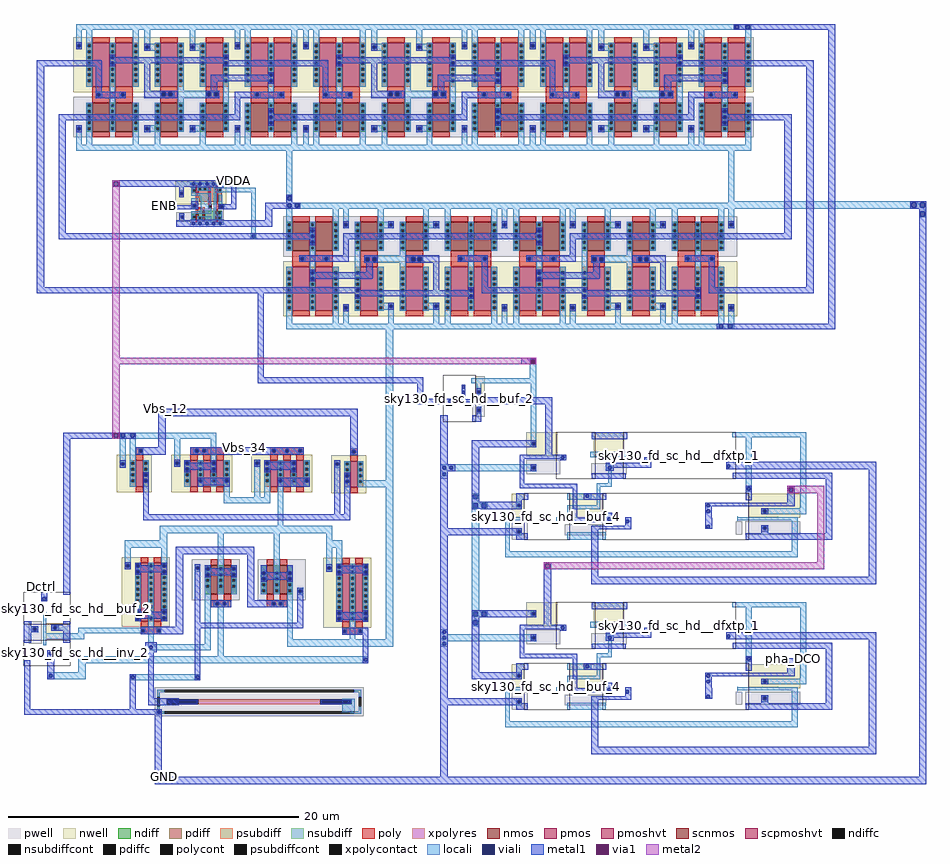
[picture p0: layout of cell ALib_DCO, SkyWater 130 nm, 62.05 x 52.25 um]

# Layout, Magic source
magic
tech sky130A
magscale 1 2
<< nwell >>
rect 3080 3700 3260 3820
rect 3080 3500 3256 3700
rect 7210 820 7340 1140
<< pwell >>
rect 3156 3390 3290 3394
rect 3100 3260 3290 3390
rect 3156 3258 3290 3260
rect 7170 580 7340 760
<< psubdiff >>
rect 3140 3342 3210 3380
rect 3140 3308 3164 3342
rect 3200 3308 3210 3342
rect 3140 3280 3210 3308
rect 3148 3276 3210 3280
rect 7230 690 7290 720
rect 7230 650 7240 690
rect 7280 650 7290 690
rect 7230 620 7290 650
<< nsubdiff >>
rect 3140 3662 3200 3696
rect 3140 3628 3154 3662
rect 3188 3628 3200 3662
rect 3140 3596 3200 3628
rect 7230 940 7290 970
rect 7230 900 7240 940
rect 7280 900 7290 940
rect 7230 870 7290 900
<< psubdiffcont >>
rect 3164 3308 3200 3342
rect 7240 650 7280 690
<< nsubdiffcont >>
rect 3154 3628 3188 3662
rect 7240 900 7280 940
<< locali >>
rect 3140 3670 3200 3696
rect 3730 3670 4190 3730
rect 3140 3630 3150 3670
rect 3190 3630 3200 3670
rect 3140 3628 3154 3630
rect 3188 3628 3200 3630
rect 3140 3596 3200 3628
rect 3690 3490 3760 3500
rect 3690 3450 3700 3490
rect 3740 3450 3760 3490
rect 3690 3440 3760 3450
rect 3140 3342 3210 3380
rect 3140 3308 3164 3342
rect 3200 3308 3210 3342
rect 3140 3270 3210 3308
rect 4130 3100 4190 3670
rect 10750 3520 13410 3540
rect 10750 3460 13210 3520
rect 13270 3460 13330 3520
rect 13390 3460 13410 3520
rect 10750 3440 13410 3460
rect 13310 3400 13410 3440
rect 13310 3340 13330 3400
rect 13390 3340 13410 3400
rect 13310 3320 13410 3340
rect 4120 3080 4200 3100
rect 4120 3040 4140 3080
rect 4180 3040 4200 3080
rect 4120 3020 4200 3040
rect 5980 -530 6080 1830
rect 7960 1370 8050 1390
rect 7960 1310 7970 1370
rect 8030 1310 8050 1370
rect 7960 1110 8050 1310
rect 7150 1040 8050 1110
rect 7230 940 7290 1040
rect 7230 900 7240 940
rect 7280 900 7290 940
rect 7230 870 7290 900
rect 7230 690 7290 720
rect 7230 650 7240 690
rect 7280 650 7290 690
rect 7230 620 7290 650
rect 7970 250 8050 1040
rect 6730 -190 6830 -170
rect 6730 -230 6760 -190
rect 6800 -230 6830 -190
rect 6730 -270 6830 -230
rect 7160 -490 7260 -470
rect 7160 -550 7180 -490
rect 7240 -550 7260 -490
rect 7160 -590 7260 -550
rect 7160 -610 7380 -590
rect 7160 -670 7180 -610
rect 7240 -670 7300 -610
rect 7360 -670 7380 -610
rect 7160 -690 7380 -670
rect 7160 -2080 7260 -690
rect 7160 -2100 7380 -2080
rect 7160 -2160 7180 -2100
rect 7240 -2160 7300 -2100
rect 7360 -2160 7380 -2100
rect 7160 -2180 7380 -2160
rect 7160 -2220 7260 -2180
rect 7160 -2280 7180 -2220
rect 7240 -2280 7260 -2220
rect 7160 -2300 7260 -2280
rect 6730 -2360 6830 -2340
rect 6730 -2400 6760 -2360
rect 6800 -2400 6830 -2360
rect 6730 -2410 6830 -2400
rect 6730 -2520 6830 -2510
rect 6730 -2560 6760 -2520
rect 6800 -2560 6830 -2520
rect 6730 -2580 6830 -2560
<< viali >>
rect 3150 3662 3190 3670
rect 3150 3630 3154 3662
rect 3154 3630 3188 3662
rect 3188 3630 3190 3662
rect 3330 3460 3370 3500
rect 3700 3450 3740 3490
rect 3164 3308 3200 3342
rect 4630 3560 4680 3610
rect 4630 3460 4680 3510
rect 4730 3460 4780 3510
rect 13210 3460 13270 3520
rect 13330 3460 13390 3520
rect 13330 3340 13390 3400
rect 4140 3040 4180 3080
rect 7970 1310 8030 1370
rect 7028 970 7062 1004
rect 7028 894 7062 928
rect 7240 900 7280 940
rect 6846 774 6880 808
rect 7240 650 7280 690
rect 6860 -140 6900 -100
rect 6760 -230 6800 -190
rect 7180 -550 7240 -490
rect 7180 -670 7240 -610
rect 7300 -670 7360 -610
rect 7180 -2160 7240 -2100
rect 7300 -2160 7360 -2100
rect 7180 -2280 7240 -2220
rect 6760 -2400 6800 -2360
rect 6760 -2560 6800 -2520
<< metal1 >>
rect 2220 3810 3300 3830
rect 2220 3750 2240 3810
rect 2300 3750 3300 3810
rect 2220 3740 3300 3750
rect 3740 3740 3920 3830
rect 3140 3670 3200 3740
rect 3140 3630 3150 3670
rect 3190 3630 3200 3670
rect 3140 3596 3200 3630
rect 3300 3500 3400 3540
rect 3850 3500 3920 3740
rect 4610 3610 4690 3630
rect 4610 3560 4630 3610
rect 4680 3560 4690 3610
rect 4610 3520 4690 3560
rect 13190 3520 13410 3540
rect 3300 3490 3330 3500
rect 2890 3460 3330 3490
rect 3370 3460 3400 3500
rect 2890 3430 3400 3460
rect 3680 3490 3920 3500
rect 3680 3450 3700 3490
rect 3740 3450 3920 3490
rect 3680 3430 3920 3450
rect 4320 3510 4800 3520
rect 4320 3460 4630 3510
rect 4680 3460 4730 3510
rect 4780 3460 4800 3510
rect 4320 3440 4800 3460
rect 13190 3460 13210 3520
rect 13270 3460 13330 3520
rect 13390 3460 13410 3520
rect 13190 3440 13410 3460
rect 3140 3342 3210 3380
rect 3140 3308 3164 3342
rect 3200 3308 3210 3342
rect 3140 3280 3210 3308
rect 4320 3280 4420 3440
rect 3100 3190 3300 3280
rect 3740 3190 4420 3280
rect 13310 3400 13410 3440
rect 13310 3340 13330 3400
rect 13390 3340 13410 3400
rect 4220 1120 4300 2280
rect 7840 1370 8050 1390
rect 7840 1310 7970 1370
rect 8030 1310 8050 1370
rect 7840 1300 8050 1310
rect 4220 1040 6490 1120
rect 6410 830 6490 1040
rect 7020 1004 7070 1020
rect 7020 970 7028 1004
rect 7062 970 7070 1004
rect 7020 928 7070 970
rect 7020 894 7028 928
rect 7062 894 7070 928
rect 6410 828 6830 830
rect 6410 808 6896 828
rect 6410 774 6846 808
rect 6880 774 6896 808
rect 7020 820 7070 894
rect 7230 940 7290 970
rect 7230 900 7240 940
rect 7280 900 7290 940
rect 7230 870 7290 900
rect 7350 820 8270 850
rect 7020 780 8270 820
rect 7037 778 8270 780
rect 6410 756 6896 774
rect 6410 750 6830 756
rect 7350 750 8270 778
rect 7230 690 7290 720
rect 2850 590 5590 690
rect 7230 650 7240 690
rect 7280 650 7290 690
rect 7230 600 7290 650
rect 2230 290 2240 350
rect 2300 290 2310 350
rect 2850 160 2950 590
rect 2640 60 2950 160
rect 3750 60 4390 160
rect 5490 150 5590 590
rect 6730 -70 6830 600
rect 7170 510 7290 600
rect 8170 10 8270 750
rect 6830 -100 6930 -70
rect 6830 -140 6860 -100
rect 6900 -140 6930 -100
rect 6830 -170 6930 -140
rect 11500 -390 11600 -370
rect 11500 -450 11520 -390
rect 11580 -450 11600 -390
rect 11500 -470 11600 -450
rect 1240 -1880 1320 -1720
rect 6730 -2360 6830 -772
rect 8150 -1440 8250 -1420
rect 8150 -1500 8170 -1440
rect 8230 -1500 8250 -1440
rect 8150 -2340 8250 -1500
rect 6730 -2400 6760 -2360
rect 6800 -2400 6830 -2360
rect 6730 -2520 6830 -2400
rect 6730 -2534 6760 -2520
rect 6800 -2534 6830 -2520
rect 11500 -2820 11600 -2740
rect 2800 -4370 2900 -3510
rect 6730 -4370 6830 -3180
rect 13310 -4370 13410 3340
rect 2800 -4470 13410 -4370
<< via1 >>
rect 2240 3750 2300 3810
rect 7970 1310 8030 1370
rect 2240 290 2300 350
rect 11520 -450 11580 -390
rect 8170 -1500 8230 -1440
<< metal2 >>
rect 2220 3810 2320 3830
rect 2220 3750 2240 3810
rect 2300 3750 2320 3810
rect 2220 1390 2320 3750
rect 2220 1370 8050 1390
rect 2220 1310 7970 1370
rect 8030 1310 8050 1370
rect 2220 1300 8050 1310
rect 2220 350 2320 1300
rect 2220 290 2240 350
rect 2300 290 2320 350
rect 2220 280 2320 290
rect 11500 -390 12010 -370
rect 11500 -450 11520 -390
rect 11580 -450 12010 -390
rect 11500 -470 12010 -450
rect 11910 -1420 12010 -470
rect 8150 -1440 12010 -1420
rect 8150 -1500 8170 -1440
rect 8230 -1500 12010 -1440
rect 8150 -1520 12010 -1500
use ALib_IDAC  ALib_IDAC_0
transform 1 0 2860 0 1 -380
box -1860 -3160 3220 740
use DLib_freqDiv2  DLib_freqDiv2_0
transform 1 0 8320 0 1 -2610
box -1590 -1450 4400 640
use DLib_freqDiv2  DLib_freqDiv2_1
transform 1 0 8320 0 1 -270
box -1590 -1450 4400 640
use sky130_fd_sc_hd__buf_2  sky130_fd_sc_hd__buf_2_0 $PDKPATH/libs.ref/sky130_fd_sc_hd/mag
transform 1 0 6808 0 1 558
box -38 -48 406 592
use sky130_fd_sc_hd__einvp_1  sky130_fd_sc_hd__einvp_1_0 $PDKPATH/libs.ref/sky130_fd_sc_hd/mag
transform 1 0 3288 0 1 3238
box -38 -48 498 592
use x5s_cc_osc_dco  x5s_cc_osc_dco_0
transform 1 0 1680 0 1 4060
box -500 -2280 10480 1920
<< labels >>
rlabel metal1 2950 690 2950 690 1 Vbs_12
port 1 n
rlabel metal1 4030 160 4030 160 1 Vbs_34
port 2 n
rlabel metal1 1240 -1750 1240 -1750 7 Dctrl
port 4 w
rlabel metal1 2930 3490 2930 3490 1 ENB
port 5 n
rlabel metal1 3880 3830 3880 3830 1 VDDA
port 6 n
rlabel metal1 2940 -4370 2940 -4370 1 GND
port 7 n
rlabel metal1 11580 -2740 11580 -2740 1 pha_DCO
port 3 n
<< end >>

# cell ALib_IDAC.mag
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
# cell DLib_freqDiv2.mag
magic
tech sky130A
magscale 1 2
<< nwell >>
rect -410 310 20 640
rect 520 300 940 630
rect -610 -530 -440 -210
rect 180 -540 650 -210
rect 2610 -300 3360 -210
rect 2640 -330 3360 -300
rect 2560 -380 3360 -330
rect 2640 -530 3360 -380
rect 3060 -540 3360 -530
<< pwell >>
rect -410 60 60 260
rect 480 60 970 210
rect -610 -840 -390 -590
rect 120 -780 690 -630
rect 2470 -770 2560 -590
rect 2600 -770 3360 -590
<< psubdiff >>
rect -350 170 -270 200
rect -350 130 -330 170
rect -290 130 -270 170
rect -350 100 -270 130
rect 2820 -660 2920 -640
rect -550 -710 -470 -680
rect -550 -750 -530 -710
rect -490 -750 -470 -710
rect 2820 -700 2850 -660
rect 2890 -700 2920 -660
rect 2820 -730 2920 -700
rect -550 -780 -470 -750
<< nsubdiff >>
rect -350 500 -270 530
rect -350 460 -330 500
rect -290 460 -270 500
rect -350 430 -270 460
rect -550 -350 -470 -320
rect -550 -390 -530 -350
rect -490 -390 -470 -350
rect -550 -420 -470 -390
rect 2820 -430 2920 -410
rect 2820 -470 2850 -430
rect 2890 -470 2920 -430
rect 2820 -490 2920 -470
<< psubdiffcont >>
rect -330 130 -290 170
rect -530 -750 -490 -710
rect 2850 -700 2890 -660
<< nsubdiffcont >>
rect -330 460 -290 500
rect -530 -390 -490 -350
rect 2850 -470 2890 -430
<< locali >>
rect 2420 570 3440 640
rect -350 500 -270 530
rect -350 460 -330 500
rect -290 460 -270 500
rect -350 430 -270 460
rect 470 290 980 370
rect -1590 170 -270 200
rect -1590 130 -1560 170
rect -1520 130 -330 170
rect -290 130 -270 170
rect -1590 100 -270 130
rect 680 170 790 200
rect 680 130 720 170
rect 760 130 790 170
rect 680 110 790 130
rect 715 -65 765 110
rect 560 -115 765 -65
rect 150 -220 480 -200
rect 150 -260 410 -220
rect 450 -260 480 -220
rect 150 -290 480 -260
rect -550 -350 -470 -320
rect -550 -390 -530 -350
rect -490 -390 -470 -350
rect 560 -370 610 -115
rect 2610 -120 2690 570
rect 2610 -160 2630 -120
rect 2670 -160 2690 -120
rect 2610 -180 2690 -160
rect -550 -420 -470 -390
rect 150 -420 610 -370
rect 3360 -410 3440 570
rect 150 -530 205 -420
rect 2820 -430 3440 -410
rect 2820 -470 2850 -430
rect 2890 -470 3440 -430
rect 2820 -490 3440 -470
rect -700 -570 -370 -530
rect -700 -1000 -640 -570
rect 0 -580 205 -530
rect 2490 -530 2500 -520
rect 2490 -570 3320 -530
rect 2490 -580 2500 -570
rect 2820 -660 2920 -640
rect -550 -710 -470 -680
rect -550 -750 -530 -710
rect -490 -750 -470 -710
rect 2820 -700 2850 -660
rect 2890 -700 2920 -660
rect 2820 -730 2920 -700
rect -550 -780 -470 -750
rect 150 -840 680 -740
rect 3240 -1000 3320 -570
rect -700 -1080 3320 -1000
<< viali >>
rect -330 460 -290 500
rect 70 270 110 310
rect 1240 210 1280 250
rect -1560 130 -1520 170
rect -330 130 -290 170
rect 720 130 760 170
rect 2350 150 2390 190
rect 410 -260 450 -220
rect -530 -390 -490 -350
rect 2630 -160 2670 -120
rect 2070 -390 2110 -350
rect 2070 -470 2110 -430
rect 2850 -470 2890 -430
rect 710 -580 750 -540
rect 960 -610 1000 -570
rect 2070 -680 2110 -640
rect -530 -750 -490 -710
rect 2850 -700 2890 -660
<< metal1 >>
rect 490 540 980 640
rect -1160 500 -270 530
rect -1160 460 -330 500
rect -290 460 -270 500
rect -1160 430 -270 460
rect -1590 170 -1490 200
rect -1590 130 -1560 170
rect -1520 130 -1490 170
rect -1590 -680 -1490 130
rect -1160 -320 -1060 430
rect -500 310 140 330
rect -500 270 70 310
rect 110 270 140 310
rect -500 -70 -440 270
rect 60 250 140 270
rect 1210 250 1310 290
rect 1210 220 1240 250
rect 680 210 1240 220
rect 1280 210 1310 250
rect -350 170 -270 200
rect -350 130 -330 170
rect -290 130 -270 170
rect -350 100 -270 130
rect 680 170 1310 210
rect 680 130 720 170
rect 760 150 1310 170
rect 2340 190 4400 230
rect 2340 150 2350 190
rect 2390 150 4400 190
rect 760 130 790 150
rect 2340 130 4400 150
rect 680 110 790 130
rect 490 0 960 70
rect 2430 0 3800 80
rect -500 -130 290 -70
rect -550 -290 -380 -200
rect -550 -320 -470 -290
rect -1160 -350 -470 -320
rect -1160 -390 -530 -350
rect -490 -390 -470 -350
rect -1160 -420 -470 -390
rect 230 -540 290 -130
rect 2610 -120 2690 -100
rect 2610 -160 2630 -120
rect 2670 -160 2690 -120
rect 380 -220 690 -200
rect 380 -260 410 -220
rect 450 -260 690 -220
rect 380 -290 690 -260
rect 2610 -300 2690 -160
rect 3180 -330 3280 -130
rect 2050 -350 3280 -330
rect 2050 -390 2070 -350
rect 2110 -380 3280 -350
rect 2110 -390 2140 -380
rect 2050 -430 2140 -390
rect 2050 -470 2070 -430
rect 2110 -470 2140 -430
rect 690 -540 770 -470
rect 230 -580 710 -540
rect 750 -580 770 -540
rect 230 -600 770 -580
rect 950 -570 1030 -530
rect 950 -610 960 -570
rect 1000 -610 1030 -570
rect 950 -650 1030 -610
rect -1590 -710 -470 -680
rect -1590 -750 -530 -710
rect -490 -750 -470 -710
rect 480 -700 1030 -650
rect 2050 -540 2140 -470
rect 2820 -430 2920 -410
rect 2820 -470 2850 -430
rect 2890 -470 2920 -430
rect 2820 -490 2920 -470
rect 2050 -640 2150 -540
rect 2050 -680 2070 -640
rect 2110 -680 2150 -640
rect 2050 -690 2150 -680
rect 2820 -660 2920 -640
rect 2820 -700 2850 -660
rect 2890 -700 2920 -660
rect -1590 -780 -390 -750
rect -550 -840 -390 -780
rect 480 -1350 580 -700
rect 2820 -750 2920 -700
rect 3710 -750 3800 0
rect 2610 -840 3800 -750
rect 4300 -1350 4400 130
rect 480 -1450 4400 -1350
use sky130_fd_sc_hd__buf_4  sky130_fd_sc_hd__buf_4_0 $PDKPATH/libs.ref/sky130_fd_sc_hd/mag
transform 1 0 -402 0 1 -792
box -38 -48 590 592
use sky130_fd_sc_hd__dfxbp_2  sky130_fd_sc_hd__dfxbp_2_0 $PDKPATH/libs.ref/sky130_fd_sc_hd/mag
transform 1 0 678 0 1 -792
box -38 -48 1970 592
use sky130_fd_sc_hd__dfxtp_1  sky130_fd_sc_hd__dfxtp_1_0 $PDKPATH/libs.ref/sky130_fd_sc_hd/mag
transform 1 0 958 0 1 48
box -38 -48 1510 592
use sky130_fd_sc_hd__inv_4  sky130_fd_sc_hd__inv_4_0 $PDKPATH/libs.ref/sky130_fd_sc_hd/mag
transform 1 0 38 0 1 48
box -38 -48 498 592
<< labels >>
rlabel metal1 230 -70 230 -70 1 clk
port 1 n
rlabel locali 180 -580 180 -580 5 Q_N_buf
rlabel locali -660 -530 -660 -530 1 Q_N
rlabel locali 680 290 680 290 5 clkinv
rlabel metal1 -1540 200 -1540 200 1 GND
port 4 n
rlabel metal1 -1100 530 -1100 530 1 VDDA
port 3 n
rlabel metal1 3000 230 3000 230 1 D
rlabel metal1 3230 -130 3230 -130 1 clkDiv2
port 2 n
<< end >>

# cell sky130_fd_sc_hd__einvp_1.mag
magic
tech sky130A
magscale 1 2
<< nwell >>
rect -38 261 498 582
<< pwell >>
rect 98 157 459 203
rect 1 21 459 157
rect 30 -17 64 21
<< scnmos >>
rect 79 47 109 131
rect 174 47 204 177
rect 349 47 379 177
<< scpmoshvt >>
rect 79 413 109 497
rect 246 297 276 497
rect 349 297 379 497
<< ndiff >>
rect 124 131 174 177
rect 27 106 79 131
rect 27 72 35 106
rect 69 72 79 106
rect 27 47 79 72
rect 109 89 174 131
rect 109 55 119 89
rect 153 55 174 89
rect 109 47 174 55
rect 204 47 349 177
rect 379 161 433 177
rect 379 127 389 161
rect 423 127 433 161
rect 379 93 433 127
rect 379 59 389 93
rect 423 59 433 93
rect 379 47 433 59
<< pdiff >>
rect 27 472 79 497
rect 27 438 35 472
rect 69 438 79 472
rect 27 413 79 438
rect 109 488 246 497
rect 109 454 121 488
rect 155 454 189 488
rect 223 454 246 488
rect 109 413 246 454
rect 124 297 246 413
rect 276 297 349 497
rect 379 477 433 497
rect 379 443 391 477
rect 425 443 433 477
rect 379 297 433 443
<< ndiffc >>
rect 35 72 69 106
rect 119 55 153 89
rect 389 127 423 161
rect 389 59 423 93
<< pdiffc >>
rect 35 438 69 472
rect 121 454 155 488
rect 189 454 223 488
rect 391 443 425 477
<< poly >>
rect 79 497 109 523
rect 246 497 276 523
rect 349 497 379 523
rect 79 261 109 413
rect 22 249 109 261
rect 22 215 38 249
rect 72 222 109 249
rect 246 265 276 297
rect 349 265 379 297
rect 246 249 300 265
rect 72 215 204 222
rect 22 203 204 215
rect 79 192 204 203
rect 246 215 256 249
rect 290 215 300 249
rect 246 199 300 215
rect 349 249 439 265
rect 349 215 395 249
rect 429 215 439 249
rect 349 199 439 215
rect 79 131 109 192
rect 174 177 204 192
rect 349 177 379 199
rect 79 21 109 47
rect 174 21 204 47
rect 349 21 379 47
<< polycont >>
rect 38 215 72 249
rect 256 215 290 249
rect 395 215 429 249
<< locali >>
rect 0 527 29 561
rect 63 527 121 561
rect 155 527 213 561
rect 247 527 305 561
rect 339 527 397 561
rect 431 527 460 561
rect 17 472 69 493
rect 17 438 35 472
rect 103 488 290 527
rect 103 454 121 488
rect 155 454 189 488
rect 223 454 290 488
rect 103 447 290 454
rect 324 477 443 493
rect 17 413 69 438
rect 324 443 391 477
rect 425 443 443 477
rect 324 425 443 443
rect 17 379 290 413
rect 17 249 109 345
rect 17 215 38 249
rect 72 215 109 249
rect 17 199 109 215
rect 143 249 290 379
rect 143 215 256 249
rect 143 165 290 215
rect 17 131 290 165
rect 324 161 359 425
rect 395 249 443 391
rect 429 215 443 249
rect 395 195 443 215
rect 17 106 69 131
rect 17 72 35 106
rect 324 127 389 161
rect 423 127 443 161
rect 17 51 69 72
rect 103 89 290 97
rect 103 55 119 89
rect 153 55 290 89
rect 103 17 290 55
rect 324 93 443 127
rect 324 59 389 93
rect 423 59 443 93
rect 324 51 443 59
rect 0 -17 29 17
rect 63 -17 121 17
rect 155 -17 213 17
rect 247 -17 305 17
rect 339 -17 397 17
rect 431 -17 460 17
<< viali >>
rect 29 527 63 561
rect 121 527 155 561
rect 213 527 247 561
rect 305 527 339 561
rect 397 527 431 561
rect 29 -17 63 17
rect 121 -17 155 17
rect 213 -17 247 17
rect 305 -17 339 17
rect 397 -17 431 17
<< metal1 >>
rect 0 561 460 592
rect 0 527 29 561
rect 63 527 121 561
rect 155 527 213 561
rect 247 527 305 561
rect 339 527 397 561
rect 431 527 460 561
rect 0 496 460 527
rect 0 17 460 48
rect 0 -17 29 17
rect 63 -17 121 17
rect 155 -17 213 17
rect 247 -17 305 17
rect 339 -17 397 17
rect 431 -17 460 17
rect 0 -48 460 -17
<< labels >>
flabel locali s 30 221 64 255 0 FreeSans 200 0 0 0 TE
port 6 nsew
flabel locali s 30 289 64 323 0 FreeSans 200 0 0 0 TE
port 6 nsew
flabel locali s 397 221 431 255 0 FreeSans 200 0 0 0 A
port 8 nsew
flabel locali s 398 357 432 391 0 FreeSans 200 0 0 0 A
port 8 nsew
flabel locali s 398 289 432 323 0 FreeSans 200 0 0 0 A
port 8 nsew
flabel locali s 398 425 432 459 0 FreeSans 200 0 0 0 Z
port 7 nsew
flabel locali s 398 85 432 119 0 FreeSans 200 0 0 0 Z
port 7 nsew
flabel metal1 s 30 527 64 561 0 FreeSans 200 0 0 0 VPWR
port 2 nsew
flabel metal1 s 30 -17 64 17 0 FreeSans 200 0 0 0 VGND
port 3 nsew
flabel nwell s 30 527 64 561 0 FreeSans 200 0 0 0 VPB
port 4 nsew
flabel pwell s 30 -17 64 17 0 FreeSans 200 0 0 0 VNB
port 5 nsew
rlabel comment s 0 0 0 0 4 einvp_1
<< properties >>
string FIXED_BBOX 0 0 460 544
string path 0.000 0.000 2.300 0.000 
<< end >>

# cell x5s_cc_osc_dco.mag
magic
tech sky130A
<< locali >>
rect 1459 920 1604 960
rect 3036 920 3197 960
rect 4540 950 4580 960
rect 4540 925 4550 950
rect 4575 925 4580 950
rect 4540 920 4580 925
rect 1500 120 1635 130
rect 1465 90 1635 120
rect 3060 90 3215 130
rect 1465 -330 1505 90
rect 2920 -310 3145 -270
rect 4505 -330 4545 110
rect 2922 -1140 3058 -1100
rect 4505 -1105 4545 -1100
rect 4530 -1130 4545 -1105
rect 4505 -1140 4545 -1130
<< viali >>
rect 4550 925 4575 950
rect 4625 925 4650 950
rect 4440 -1130 4465 -1105
rect 4505 -1130 4530 -1105
<< metal1 >>
rect 4540 950 5240 960
rect 4540 925 4550 950
rect 4575 925 4625 950
rect 4650 925 5240 950
rect 4540 920 5240 925
rect -250 670 0 710
rect 4680 670 5090 710
rect -250 -850 -200 670
rect -100 300 0 340
rect 4675 300 4940 340
rect -100 -480 -50 300
rect 4890 -480 4940 300
rect -100 -520 1445 -480
rect 4560 -520 4940 -480
rect 5040 -850 5090 670
rect -250 -890 1445 -850
rect 4530 -890 5090 -850
rect 5190 -1100 5240 920
rect 4425 -1105 5240 -1100
rect 4425 -1130 4440 -1105
rect 4465 -1130 4505 -1105
rect 4530 -1130 5240 -1105
rect 4425 -1140 5240 -1130
use cc_inv_dco  cc_inv_dco_0
transform 1 0 0 0 1 90
box 0 0 1560 870
use cc_inv_dco  cc_inv_dco_1
transform 1 0 1560 0 1 90
box 0 0 1560 870
use cc_inv_dco  cc_inv_dco_2
transform 1 0 3120 0 1 90
box 0 0 1560 870
use cc_inv_dco  cc_inv_dco_3
transform -1 0 3005 0 -1 -270
box 0 0 1560 870
use cc_inv_dco  cc_inv_dco_4
transform -1 0 4565 0 -1 -270
box 0 0 1560 870
<< labels >>
rlabel metal1 1405 -480 1405 -480 1 pn[4]
port 5 n
rlabel metal1 1400 -850 1400 -850 1 p[4]
port 10 n
rlabel metal1 4740 960 4740 960 1 VDDA
port 11 n
rlabel locali 1505 -100 1505 -100 3 VGND
port 12 e
<< end >>

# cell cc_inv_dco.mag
magic
tech sky130A
<< nwell >>
rect 1350 510 1370 530
<< pmos >>
rect 360 600 395 640
<< pdiffc >>
rect 1040 590 1060 610
rect 1350 510 1370 530
<< poly >>
rect 995 360 1005 410
<< polycont >>
rect 610 375 635 400
rect 655 375 680 400
rect 920 375 945 400
rect 970 375 995 400
<< locali >>
rect 335 830 1120 870
rect 490 735 530 830
rect 800 735 840 830
rect 600 400 695 410
rect 600 375 610 400
rect 635 375 655 400
rect 680 375 695 400
rect 600 360 695 375
rect 760 400 1005 410
rect 760 375 920 400
rect 945 375 970 400
rect 995 375 1005 400
rect 760 360 1005 375
rect 560 40 600 130
rect 870 40 910 130
rect 300 0 1155 40
<< viali >>
rect 260 630 280 650
rect 1040 630 1060 650
rect 260 590 280 610
rect 1040 590 1060 610
rect 1350 510 1370 530
rect 1350 470 1370 490
rect 610 375 635 400
rect 655 375 680 400
rect 920 375 945 400
rect 970 375 995 400
rect 1350 260 1370 280
rect 1350 220 1370 240
rect 1350 180 1370 200
<< metal1 >>
rect 250 650 290 660
rect 250 630 260 650
rect 280 640 290 650
rect 1030 650 1070 660
rect 1030 640 1040 650
rect 280 630 1040 640
rect 1060 630 1070 650
rect 250 620 1070 630
rect 0 580 195 620
rect 250 610 1560 620
rect 250 590 260 610
rect 280 600 1040 610
rect 280 590 290 600
rect 250 580 290 590
rect 155 405 195 580
rect 490 410 530 600
rect 1030 590 1040 600
rect 1060 590 1560 610
rect 1030 580 1560 590
rect 1340 530 1380 540
rect 1340 520 1350 530
rect 945 510 1350 520
rect 1370 510 1380 530
rect 945 490 1380 510
rect 945 475 1350 490
rect 945 410 990 475
rect 1340 470 1350 475
rect 1370 470 1380 490
rect 1340 460 1380 470
rect 490 400 720 410
rect 490 375 610 400
rect 635 375 655 400
rect 680 375 720 400
rect 490 360 720 375
rect 910 400 1005 410
rect 910 375 920 400
rect 945 375 970 400
rect 995 375 1005 400
rect 910 360 1005 375
rect 1110 360 1250 405
rect 1110 250 1150 360
rect 0 210 1150 250
rect 1340 280 1380 290
rect 1340 260 1350 280
rect 1370 260 1380 280
rect 1340 250 1380 260
rect 1340 240 1560 250
rect 1340 220 1350 240
rect 1370 220 1560 240
rect 1340 210 1560 220
rect 1340 200 1380 210
rect 1340 180 1350 200
rect 1370 180 1380 200
rect 1340 170 1380 180
use aux_inv_dco  aux_inv_dco_0
transform 1 0 600 0 1 440
box -130 -350 180 340
use aux_inv_dco  aux_inv_dco_1
transform 1 0 910 0 1 440
box -130 -350 180 340
use main_inv_dco  main_inv_dco_0
transform 1 0 130 0 1 440
box -130 -440 340 430
use main_inv_dco  main_inv_dco_1
transform 1 0 1220 0 1 440
box -130 -440 340 430
<< labels >>
rlabel metal1 0 600 0 600 7 inp
port 1 w
rlabel metal1 0 230 0 230 7 inn
port 2 w
rlabel metal1 1560 600 1560 600 3 outp
port 3 e
rlabel metal1 1560 230 1560 230 3 outn
port 4 e
rlabel locali 490 870 490 870 1 VDDA
port 5 n
rlabel locali 485 0 485 0 5 VGND
port 6 s
<< end >>

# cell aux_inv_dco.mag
magic
tech sky130A
<< nwell >>
rect -130 -40 180 340
<< pwell >>
rect -130 -350 180 -70
<< nmos >>
rect 0 -310 120 -110
<< pmos >>
rect 0 0 120 300
<< ndiff >>
rect -40 -120 0 -110
rect -40 -140 -30 -120
rect -10 -140 0 -120
rect -40 -160 0 -140
rect -40 -180 -30 -160
rect -10 -180 0 -160
rect -40 -200 0 -180
rect -40 -220 -30 -200
rect -10 -220 0 -200
rect -40 -240 0 -220
rect -40 -260 -30 -240
rect -10 -260 0 -240
rect -40 -280 0 -260
rect -40 -300 -30 -280
rect -10 -300 0 -280
rect -40 -310 0 -300
rect 120 -120 160 -110
rect 120 -140 130 -120
rect 150 -140 160 -120
rect 120 -160 160 -140
rect 120 -180 130 -160
rect 150 -180 160 -160
rect 120 -200 160 -180
rect 120 -220 130 -200
rect 150 -220 160 -200
rect 120 -240 160 -220
rect 120 -260 130 -240
rect 150 -260 160 -240
rect 120 -280 160 -260
rect 120 -300 130 -280
rect 150 -300 160 -280
rect 120 -310 160 -300
<< pdiff >>
rect -40 290 0 300
rect -40 270 -30 290
rect -10 270 0 290
rect -40 250 0 270
rect -40 230 -30 250
rect -10 230 0 250
rect -40 210 0 230
rect -40 190 -30 210
rect -10 190 0 210
rect -40 170 0 190
rect -40 150 -30 170
rect -10 150 0 170
rect -40 130 0 150
rect -40 110 -30 130
rect -10 110 0 130
rect -40 90 0 110
rect -40 70 -30 90
rect -10 70 0 90
rect -40 50 0 70
rect -40 30 -30 50
rect -10 30 0 50
rect -40 0 0 30
rect 120 290 160 300
rect 120 270 130 290
rect 150 270 160 290
rect 120 250 160 270
rect 120 230 130 250
rect 150 230 160 250
rect 120 210 160 230
rect 120 190 130 210
rect 150 190 160 210
rect 120 170 160 190
rect 120 150 130 170
rect 150 150 160 170
rect 120 130 160 150
rect 120 110 130 130
rect 150 110 160 130
rect 120 90 160 110
rect 120 70 130 90
rect 150 70 160 90
rect 120 50 160 70
rect 120 30 130 50
rect 150 30 160 50
rect 120 0 160 30
<< ndiffc >>
rect -30 -140 -10 -120
rect -30 -180 -10 -160
rect -30 -220 -10 -200
rect -30 -260 -10 -240
rect -30 -300 -10 -280
rect 130 -140 150 -120
rect 130 -180 150 -160
rect 130 -220 150 -200
rect 130 -260 150 -240
rect 130 -300 150 -280
<< pdiffc >>
rect -30 270 -10 290
rect -30 230 -10 250
rect -30 190 -10 210
rect -30 150 -10 170
rect -30 110 -10 130
rect -30 70 -10 90
rect -30 30 -10 50
rect 130 270 150 290
rect 130 230 150 250
rect 130 190 150 210
rect 130 150 150 170
rect 130 110 150 130
rect 130 70 150 90
rect 130 30 150 50
<< psubdiff >>
rect -110 -280 -70 -265
rect -110 -300 -100 -280
rect -80 -300 -70 -280
rect -110 -315 -70 -300
<< nsubdiff >>
rect -110 280 -70 295
rect -110 260 -100 280
rect -80 260 -70 280
rect -110 245 -70 260
<< psubdiffcont >>
rect -100 -300 -80 -280
<< nsubdiffcont >>
rect -100 260 -80 280
<< poly >>
rect 0 300 120 340
rect 0 -110 120 0
rect 0 -350 120 -310
<< locali >>
rect -40 295 0 300
rect -110 290 0 295
rect -110 280 -30 290
rect -110 260 -100 280
rect -80 270 -30 280
rect -10 270 0 290
rect -80 260 0 270
rect -110 250 0 260
rect -110 245 -30 250
rect -40 230 -30 245
rect -10 230 0 250
rect -40 210 0 230
rect -40 190 -30 210
rect -10 190 0 210
rect -40 170 0 190
rect -40 150 -30 170
rect -10 150 0 170
rect -40 130 0 150
rect -40 110 -30 130
rect -10 110 0 130
rect -40 90 0 110
rect -40 70 -30 90
rect -10 70 0 90
rect -40 50 0 70
rect -40 30 -30 50
rect -10 30 0 50
rect -40 0 0 30
rect 120 290 160 300
rect 120 270 130 290
rect 150 270 160 290
rect 120 250 160 270
rect 120 230 130 250
rect 150 230 160 250
rect 120 210 160 230
rect 120 190 130 210
rect 150 190 160 210
rect 120 170 160 190
rect 120 150 130 170
rect 150 150 160 170
rect 120 130 160 150
rect 120 110 130 130
rect 150 110 160 130
rect 120 90 160 110
rect 120 70 130 90
rect 150 70 160 90
rect 120 50 160 70
rect 120 30 130 50
rect 150 30 160 50
rect -40 -120 0 -110
rect -40 -140 -30 -120
rect -10 -140 0 -120
rect -40 -160 0 -140
rect -40 -180 -30 -160
rect -10 -180 0 -160
rect -40 -200 0 -180
rect -40 -220 -30 -200
rect -10 -220 0 -200
rect -40 -240 0 -220
rect -40 -260 -30 -240
rect -10 -260 0 -240
rect -40 -265 0 -260
rect -110 -280 0 -265
rect -110 -300 -100 -280
rect -80 -300 -30 -280
rect -10 -300 0 -280
rect -110 -310 0 -300
rect 120 -120 160 30
rect 120 -140 130 -120
rect 150 -140 160 -120
rect 120 -160 160 -140
rect 120 -180 130 -160
rect 150 -180 160 -160
rect 120 -200 160 -180
rect 120 -220 130 -200
rect 150 -220 160 -200
rect 120 -240 160 -220
rect 120 -260 130 -240
rect 150 -260 160 -240
rect 120 -280 160 -260
rect 120 -300 130 -280
rect 150 -300 160 -280
rect 120 -310 160 -300
rect -110 -315 -70 -310
<< viali >>
rect -100 260 -80 280
rect -100 -300 -80 -280
<< metal1 >>
rect -110 280 -70 295
rect -110 260 -100 280
rect -80 260 -70 280
rect -110 245 -70 260
rect -110 -280 -70 -265
rect -110 -300 -100 -280
rect -80 -300 -70 -280
rect -110 -315 -70 -300
<< labels >>
rlabel poly 0 -55 0 -55 7 A
port 1 w
rlabel locali -20 300 -20 300 1 VDDA
port 3 n
rlabel locali -20 -310 -20 -310 5 VGND
port 4 s
rlabel locali 160 -55 160 -55 3 Y
port 2 e
<< end >>

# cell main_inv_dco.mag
magic
tech sky130A
<< nwell >>
rect -130 -40 340 340
<< pwell >>
rect -130 -80 100 -70
rect 120 -80 340 -70
rect -130 -350 340 -80
<< nmos >>
rect 0 -310 120 -110
rect 160 -310 280 -110
<< pmos >>
rect 0 0 120 300
rect 160 0 280 300
<< ndiff >>
rect -40 -120 0 -110
rect -40 -140 -30 -120
rect -10 -140 0 -120
rect -40 -160 0 -140
rect -40 -180 -30 -160
rect -10 -180 0 -160
rect -40 -200 0 -180
rect -40 -220 -30 -200
rect -10 -220 0 -200
rect -40 -240 0 -220
rect -40 -260 -30 -240
rect -10 -260 0 -240
rect -40 -280 0 -260
rect -40 -300 -30 -280
rect -10 -300 0 -280
rect -40 -310 0 -300
rect 120 -120 160 -110
rect 120 -140 130 -120
rect 150 -140 160 -120
rect 120 -160 160 -140
rect 120 -180 130 -160
rect 150 -180 160 -160
rect 120 -200 160 -180
rect 120 -220 130 -200
rect 150 -220 160 -200
rect 120 -240 160 -220
rect 120 -260 130 -240
rect 150 -260 160 -240
rect 120 -280 160 -260
rect 120 -300 130 -280
rect 150 -300 160 -280
rect 120 -310 160 -300
rect 280 -120 320 -110
rect 280 -140 290 -120
rect 310 -140 320 -120
rect 280 -160 320 -140
rect 280 -180 290 -160
rect 310 -180 320 -160
rect 280 -200 320 -180
rect 280 -220 290 -200
rect 310 -220 320 -200
rect 280 -240 320 -220
rect 280 -260 290 -240
rect 310 -260 320 -240
rect 280 -280 320 -260
rect 280 -300 290 -280
rect 310 -300 320 -280
rect 280 -310 320 -300
<< pdiff >>
rect -40 290 0 300
rect -40 270 -30 290
rect -10 270 0 290
rect -40 250 0 270
rect -40 230 -30 250
rect -10 230 0 250
rect -40 210 0 230
rect -40 190 -30 210
rect -10 190 0 210
rect -40 170 0 190
rect -40 150 -30 170
rect -10 150 0 170
rect -40 130 0 150
rect -40 110 -30 130
rect -10 110 0 130
rect -40 90 0 110
rect -40 70 -30 90
rect -10 70 0 90
rect -40 50 0 70
rect -40 30 -30 50
rect -10 30 0 50
rect -40 0 0 30
rect 120 290 160 300
rect 120 270 130 290
rect 150 270 160 290
rect 120 250 160 270
rect 120 230 130 250
rect 150 230 160 250
rect 120 210 160 230
rect 120 190 130 210
rect 150 190 160 210
rect 120 170 160 190
rect 120 150 130 170
rect 150 150 160 170
rect 120 130 160 150
rect 120 110 130 130
rect 150 110 160 130
rect 120 90 160 110
rect 120 70 130 90
rect 150 70 160 90
rect 120 50 160 70
rect 120 30 130 50
rect 150 30 160 50
rect 120 0 160 30
rect 280 290 320 300
rect 280 270 290 290
rect 310 270 320 290
rect 280 250 320 270
rect 280 230 290 250
rect 310 230 320 250
rect 280 210 320 230
rect 280 190 290 210
rect 310 190 320 210
rect 280 170 320 190
rect 280 150 290 170
rect 310 150 320 170
rect 280 130 320 150
rect 280 110 290 130
rect 310 110 320 130
rect 280 90 320 110
rect 280 70 290 90
rect 310 70 320 90
rect 280 50 320 70
rect 280 30 290 50
rect 310 30 320 50
rect 280 0 320 30
<< ndiffc >>
rect -30 -140 -10 -120
rect -30 -180 -10 -160
rect -30 -220 -10 -200
rect -30 -260 -10 -240
rect -30 -300 -10 -280
rect 130 -140 150 -120
rect 130 -180 150 -160
rect 130 -220 150 -200
rect 130 -260 150 -240
rect 130 -300 150 -280
rect 290 -140 310 -120
rect 290 -180 310 -160
rect 290 -220 310 -200
rect 290 -260 310 -240
rect 290 -300 310 -280
<< pdiffc >>
rect -30 270 -10 290
rect -30 230 -10 250
rect -30 190 -10 210
rect -30 150 -10 170
rect -30 110 -10 130
rect -30 70 -10 90
rect -30 30 -10 50
rect 130 270 150 290
rect 130 230 150 250
rect 130 190 150 210
rect 130 150 150 170
rect 130 110 150 130
rect 130 70 150 90
rect 130 30 150 50
rect 290 270 310 290
rect 290 230 310 250
rect 290 190 310 210
rect 290 150 310 170
rect 290 110 310 130
rect 290 70 310 90
rect 290 30 310 50
<< psubdiff >>
rect -110 -280 -70 -265
rect -110 -300 -100 -280
rect -80 -300 -70 -280
rect -110 -315 -70 -300
<< nsubdiff >>
rect -110 290 -70 305
rect -110 270 -100 290
rect -80 270 -70 290
rect -110 255 -70 270
<< psubdiffcont >>
rect -100 -300 -80 -280
<< nsubdiffcont >>
rect -100 270 -80 290
<< poly >>
rect 0 300 120 340
rect 160 300 280 340
rect 0 -40 120 0
rect 160 -40 280 0
rect 0 -45 280 -40
rect 0 -65 35 -45
rect 55 -65 200 -45
rect 220 -65 280 -45
rect 0 -70 280 -65
rect 0 -110 120 -70
rect 160 -110 280 -70
rect 0 -350 120 -310
rect 160 -350 280 -310
<< polycont >>
rect 35 -65 55 -45
rect 200 -65 220 -45
<< locali >>
rect -110 390 320 430
rect -110 290 -70 390
rect -110 270 -100 290
rect -80 270 -70 290
rect -110 255 -70 270
rect -40 290 0 390
rect -40 270 -30 290
rect -10 270 0 290
rect -40 250 0 270
rect -40 230 -30 250
rect -10 230 0 250
rect -40 210 0 230
rect -40 190 -30 210
rect -10 190 0 210
rect -40 170 0 190
rect -40 150 -30 170
rect -10 150 0 170
rect -40 130 0 150
rect -40 110 -30 130
rect -10 110 0 130
rect -40 90 0 110
rect -40 70 -30 90
rect -10 70 0 90
rect -40 50 0 70
rect -40 30 -30 50
rect -10 30 0 50
rect -40 0 0 30
rect 120 290 160 300
rect 120 270 130 290
rect 150 270 160 290
rect 120 250 160 270
rect 120 230 130 250
rect 150 230 160 250
rect 120 210 160 230
rect 120 190 130 210
rect 150 190 160 210
rect 120 170 160 190
rect 120 150 130 170
rect 150 150 160 170
rect 120 130 160 150
rect 120 110 130 130
rect 150 110 160 130
rect 120 90 160 110
rect 120 70 130 90
rect 150 70 160 90
rect 120 50 160 70
rect 120 30 130 50
rect 150 30 160 50
rect 25 -45 70 -35
rect 25 -65 35 -45
rect 55 -65 70 -45
rect 25 -80 70 -65
rect -40 -120 0 -110
rect -40 -140 -30 -120
rect -10 -140 0 -120
rect -40 -160 0 -140
rect -40 -180 -30 -160
rect -10 -180 0 -160
rect -40 -200 0 -180
rect -40 -220 -30 -200
rect -10 -220 0 -200
rect -40 -240 0 -220
rect -40 -260 -30 -240
rect -10 -260 0 -240
rect -110 -280 -70 -265
rect -110 -300 -100 -280
rect -80 -300 -70 -280
rect -110 -400 -70 -300
rect -40 -280 0 -260
rect -40 -300 -30 -280
rect -10 -300 0 -280
rect -40 -400 0 -300
rect 120 -120 160 30
rect 280 290 320 390
rect 280 270 290 290
rect 310 270 320 290
rect 280 250 320 270
rect 280 230 290 250
rect 310 230 320 250
rect 280 210 320 230
rect 280 190 290 210
rect 310 190 320 210
rect 280 170 320 190
rect 280 150 290 170
rect 310 150 320 170
rect 280 130 320 150
rect 280 110 290 130
rect 310 110 320 130
rect 280 90 320 110
rect 280 70 290 90
rect 310 70 320 90
rect 280 50 320 70
rect 280 30 290 50
rect 310 30 320 50
rect 280 0 320 30
rect 185 -45 230 -35
rect 185 -65 200 -45
rect 220 -65 230 -45
rect 185 -80 230 -65
rect 120 -140 130 -120
rect 150 -140 160 -120
rect 120 -160 160 -140
rect 120 -180 130 -160
rect 150 -180 160 -160
rect 120 -200 160 -180
rect 120 -220 130 -200
rect 150 -220 160 -200
rect 120 -240 160 -220
rect 120 -260 130 -240
rect 150 -260 160 -240
rect 120 -280 160 -260
rect 120 -300 130 -280
rect 150 -300 160 -280
rect 120 -310 160 -300
rect 280 -120 320 -110
rect 280 -140 290 -120
rect 310 -140 320 -120
rect 280 -160 320 -140
rect 280 -180 290 -160
rect 310 -180 320 -160
rect 280 -200 320 -180
rect 280 -220 290 -200
rect 310 -220 320 -200
rect 280 -240 320 -220
rect 280 -260 290 -240
rect 310 -260 320 -240
rect 280 -280 320 -260
rect 280 -300 290 -280
rect 310 -300 320 -280
rect 280 -400 320 -300
rect -110 -440 320 -400
<< viali >>
rect -100 270 -80 290
rect 35 -65 55 -45
rect -100 -300 -80 -280
rect 200 -65 220 -45
<< metal1 >>
rect -110 290 -70 305
rect -110 270 -100 290
rect -80 270 -70 290
rect -110 255 -70 270
rect 25 -45 230 -35
rect 25 -65 35 -45
rect 55 -65 200 -45
rect 220 -65 230 -45
rect 25 -80 230 -65
rect -110 -280 -70 -265
rect -110 -300 -100 -280
rect -80 -300 -70 -280
rect -110 -315 -70 -300
<< labels >>
rlabel metal1 25 -55 25 -55 7 A
port 1 w
rlabel locali -70 430 -70 430 1 VDDA
port 3 n
rlabel locali -70 -440 -70 -440 5 VGND
port 4 s
rlabel locali 140 -310 140 -310 5 Y
port 2 s
<< end >>

# cell sky130_fd_pr__res_xhigh_po_0p35_RSCMUS: kit device sky130_fd_pr__res_xhigh_po_0p35, w 0.350 l 8.562 m 1 nx 1 wmin 0.350 lmin 0.50 rho 2000 val 50.001k dummy 0 dw 0.0 term 188.2 sterm 0.0 caplen 0 wmax 0.350 guard 1 glc 1 grc 1 gtc 1 gbc 1 compatible {sky130_fd_pr__res_xhigh_po_0p35 sky130_fd_pr__res_xhigh_po_0p69 sky130_fd_pr__res_xhigh_po_1p41 sky130_fd_pr__res_xhigh_po_2p85 sky130_fd_pr__res_xhigh_po_5p73} snake 0 full_metal 1 n_guard 0 hv_guard 0 vias 1 viagb 0 viagt 0 viagl 0 viagr 0
